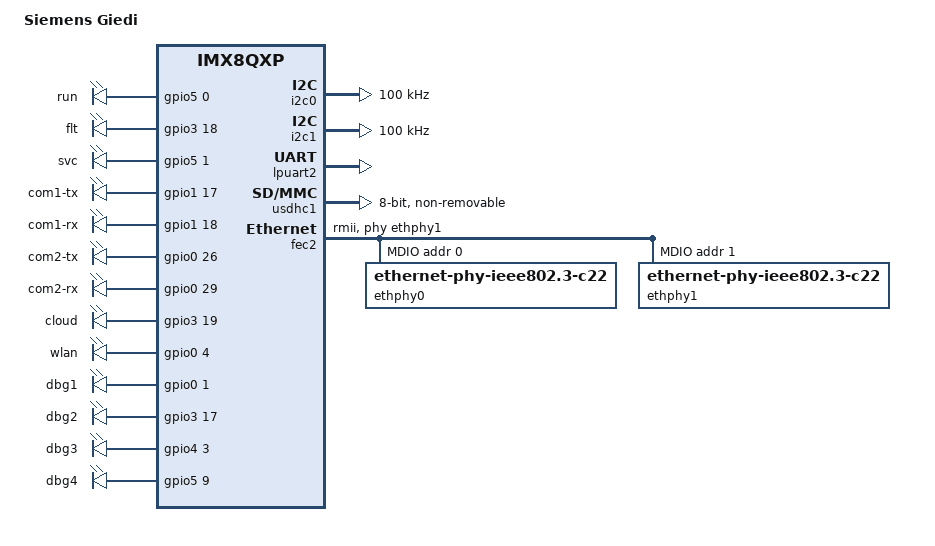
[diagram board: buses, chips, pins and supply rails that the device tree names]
// SPDX-License-Identifier: GPL-2.0+
/*
 * Copyright 2017 NXP
 *
 * Copyright 2019 Siemens AG
 *
 */

/dts-v1/;

#include "fsl-imx8qxp.dtsi"
#include "imx8qxp-capricorn-u-boot.dtsi"

/ {
	model = "Siemens Giedi";
	compatible = "siemens,capricorn", "fsl,imx8qxp";

	chosen {
		bootargs = "console=ttyLP2,115200 earlycon=lpuart32,0x5a080000,115200";
		stdout-path = &lpuart2;
	};

	leds {
		compatible = "gpio-leds";
		pinctrl-names = "default";
		pinctrl-0 = <&pinctrl_gpio_leds>;

		run {
			label = "run";
			gpios = <&gpio5 0 GPIO_ACTIVE_HIGH>;
			default-state = "on";
		};

		flt {
			label = "flt";
			gpios = <&gpio3 18 GPIO_ACTIVE_HIGH>;
			default-state = "on";
		};

		svc {
			label = "svc";
			gpios = <&gpio5 1 GPIO_ACTIVE_HIGH>;
			default-state = "on";
		};

		com1_tx {
			label = "com1-tx";
			gpios = <&gpio1 17 GPIO_ACTIVE_HIGH>;
			default-state = "on";
		};

		com1_rx {
			label = "com1-rx";
			gpios = <&gpio1 18 GPIO_ACTIVE_HIGH>;
			default-state = "on";
		};

		com2_tx {
			label = "com2-tx";
			gpios = <&gpio0 26 GPIO_ACTIVE_HIGH>;
			default-state = "on";
		};

		com2_rx {
			label = "com2-rx";
			gpios = <&gpio0 29 GPIO_ACTIVE_HIGH>;
			default-state = "on";
		};

		cloud {
			label = "cloud";
			gpios = <&gpio3 19 GPIO_ACTIVE_HIGH>;
			default-state = "on";
		};

		wlan {
			label = "wlan";
			gpios = <&gpio0 4 GPIO_ACTIVE_HIGH>;
			default-state = "on";
		};

		dbg1 {
			label = "dbg1";
			gpios = <&gpio0 1 GPIO_ACTIVE_HIGH>;
			default-state = "on";
		};

		dbg2 {
			label = "dbg2";
			gpios = <&gpio3 17 GPIO_ACTIVE_HIGH>;
			default-state = "on";
		};

		dbg3 {
			label = "dbg3";
			gpios = <&gpio4 3 GPIO_ACTIVE_HIGH>;
			default-state = "on";
		};

		dbg4 {
			label = "dbg4";
			gpios = <&gpio5 9 GPIO_ACTIVE_HIGH>;
			default-state = "on";
		};
	};
};

&iomuxc {
	pinctrl-names = "default";

	muxcgrp: imx8qxp-som {
		pinctrl_gpio_leds: gpioledsgrp {
			fsl,pins = <
			SC_P_ESAI0_FST_LSIO_GPIO0_IO01		0x06000021
			SC_P_ESAI0_TX0_LSIO_GPIO0_IO04		0x06000021
			SC_P_SAI0_TXC_LSIO_GPIO0_IO26		0x06000021
			SC_P_SAI1_RXD_LSIO_GPIO0_IO29		0x06000021
			SC_P_FLEXCAN1_RX_LSIO_GPIO1_IO17	0x06000021
			SC_P_FLEXCAN1_TX_LSIO_GPIO1_IO18	0x06000021
			SC_P_QSPI0B_SCLK_LSIO_GPIO3_IO17	0x06000021
			SC_P_QSPI0B_DATA0_LSIO_GPIO3_IO18	0x06000021
			SC_P_QSPI0B_DATA1_LSIO_GPIO3_IO19	0x06000021
			SC_P_USB_SS3_TC0_LSIO_GPIO4_IO03	0x06000021
			SC_P_ENET0_RGMII_TXD1_LSIO_GPIO5_IO00	0x06000021
			SC_P_ENET0_RGMII_TXD2_LSIO_GPIO5_IO01	0x06000021
			SC_P_ENET0_REFCLK_125M_25M_LSIO_GPIO5_IO09	0x06000021
			>;
		};

		pinctrl_lpi2c0: lpi2c0grp {
			fsl,pins = <
			SC_P_MIPI_CSI0_GPIO0_00_ADMA_I2C0_SCL	0x0C000020
			SC_P_MIPI_CSI0_GPIO0_01_ADMA_I2C0_SDA	0x0C000020
			>;
		};

		pinctrl_lpi2c1: lpi2c1grp {
			fsl,pins = <
			SC_P_MIPI_DSI0_GPIO0_00_ADMA_I2C1_SCL	0x0C000020
			SC_P_MIPI_DSI0_GPIO0_01_ADMA_I2C1_SDA	0x0C000020
			>;
		};

		pinctrl_lpuart2: lpuart2grp {
			fsl,pins = <
				SC_P_UART2_RX_ADMA_UART2_RX	0x06000020
				SC_P_UART2_TX_ADMA_UART2_TX	0x06000020
			>;
		};

		pinctrl_usdhc1: usdhc1grp {
			fsl,pins = <
				SC_P_EMMC0_CLK_CONN_EMMC0_CLK		0x06000041
				SC_P_EMMC0_CMD_CONN_EMMC0_CMD		0x00000021
				SC_P_EMMC0_DATA0_CONN_EMMC0_DATA0	0x00000021
				SC_P_EMMC0_DATA1_CONN_EMMC0_DATA1	0x00000021
				SC_P_EMMC0_DATA2_CONN_EMMC0_DATA2	0x00000021
				SC_P_EMMC0_DATA3_CONN_EMMC0_DATA3	0x00000021
				SC_P_EMMC0_DATA4_CONN_EMMC0_DATA4	0x00000021
				SC_P_EMMC0_DATA5_CONN_EMMC0_DATA5	0x00000021
				SC_P_EMMC0_DATA6_CONN_EMMC0_DATA6	0x00000021
				SC_P_EMMC0_DATA7_CONN_EMMC0_DATA7	0x00000021
				SC_P_EMMC0_STROBE_CONN_EMMC0_STROBE	0x06000041
				SC_P_EMMC0_RESET_B_CONN_EMMC0_RESET_B	0x00000021
				SC_P_ENET0_RGMII_TXC_LSIO_GPIO4_IO29	0x06000021
			>;
		};

		pinctrl_usdhc2: usdhc2grp {
			fsl,pins = <
				SC_P_ENET0_RGMII_RXC_CONN_USDHC1_CLK	0x06000041
				SC_P_ENET0_RGMII_RX_CTL_CONN_USDHC1_CMD	0x00000021
				SC_P_ENET0_RGMII_RXD0_CONN_USDHC1_DATA0	0x00000021
				SC_P_ENET0_RGMII_RXD1_CONN_USDHC1_DATA1	0x00000021
				SC_P_ENET0_RGMII_RXD2_CONN_USDHC1_DATA2	0x00000021
				SC_P_ENET0_RGMII_RXD3_CONN_USDHC1_DATA3	0x00000021
				SC_P_ENET0_RGMII_TXD2_CONN_USDHC1_CD_B	0x06000021
				//SC_P_ENET0_RGMII_TXD2_LSIO_GPIO5_IO01	0x06000021
				SC_P_ENET0_RGMII_TX_CTL_LSIO_GPIO4_IO30	0x06000021
			>;
		};

		pinctrl_fec2: fec2grp {
			fsl,pins = <
				SC_P_COMP_CTL_GPIO_1V8_3V3_ENET_ENETB0_PAD	0x000014a0
				SC_P_COMP_CTL_GPIO_1V8_3V3_ENET_ENETB1_PAD	0x000014a0
				SC_P_COMP_CTL_GPIO_1V8_3V3_GPIORHB_PAD		0x000514a0

				SC_P_ENET0_MDC_CONN_ENET1_MDC                   0x00000060
				SC_P_ENET0_MDIO_CONN_ENET1_MDIO                 0x00000060

				SC_P_ESAI0_FSR_CONN_ENET1_RCLK50M_IN            0x00000060
				SC_P_SPDIF0_RX_CONN_ENET1_RGMII_RXD0            0x00000060
				SC_P_ESAI0_TX3_RX2_CONN_ENET1_RGMII_RXD1        0x00000060
				SC_P_ESAI0_TX2_RX3_CONN_ENET1_RMII_RX_ER        0x00000060
				SC_P_SPDIF0_TX_CONN_ENET1_RGMII_RX_CTL          0x00000060
				SC_P_ESAI0_TX4_RX1_CONN_ENET1_RGMII_TXD0        0x00000060
				SC_P_ESAI0_TX5_RX0_CONN_ENET1_RGMII_TXD1        0x00000060
				SC_P_ESAI0_SCKR_CONN_ENET1_RGMII_TX_CTL         0x00000060	/* ERST: Reset pin */
			>;
		};
	};
};

&i2c0 {
	clock-frequency = <100000>;
	pinctrl-names = "default";
	pinctrl-0 = <&pinctrl_lpi2c0>;
	status = "okay";
};

&i2c1 {
	clock-frequency = <100000>;
	pinctrl-names = "default";
	pinctrl-0 = <&pinctrl_lpi2c1>;
	status = "okay";
};

&lpuart2 {
	pinctrl-names = "default";
	pinctrl-0 = <&pinctrl_lpuart2>;
	status = "okay";
};

&usdhc1 {
	pinctrl-names = "default";
	pinctrl-0 = <&pinctrl_usdhc1>;
	clock-frequency=<52000000>;
	no-1-8-v;
	bus-width = <8>;
	non-removable;
	status = "okay";
};

&gpio0 {
	status = "okay";
};

&gpio1 {
	status = "okay";
};

&gpio2 {
	status = "okay";
};

&gpio3 {
	status = "okay";
};

&gpio4 {
	status = "okay";
};

&gpio5 {
	status = "okay";
};

&fec1 {
	status ="disabled";
};

&fec2 {
	pinctrl-names = "default";
	pinctrl-0 = <&pinctrl_fec2>;
	phy-mode = "rmii";

	phy-handle = <&ethphy1>;
	fsl,magic-packet;
	status = "okay";

	mdio {
		#address-cells = <1>;
		#size-cells = <0>;

		ethphy0: ethernet-phy@0 {
			compatible = "ethernet-phy-ieee802.3-c22";
			reg = <0>;
		};
		ethphy1: ethernet-phy@1 {
			compatible = "ethernet-phy-ieee802.3-c22";
			reg = <1>;
		};
	};
};
